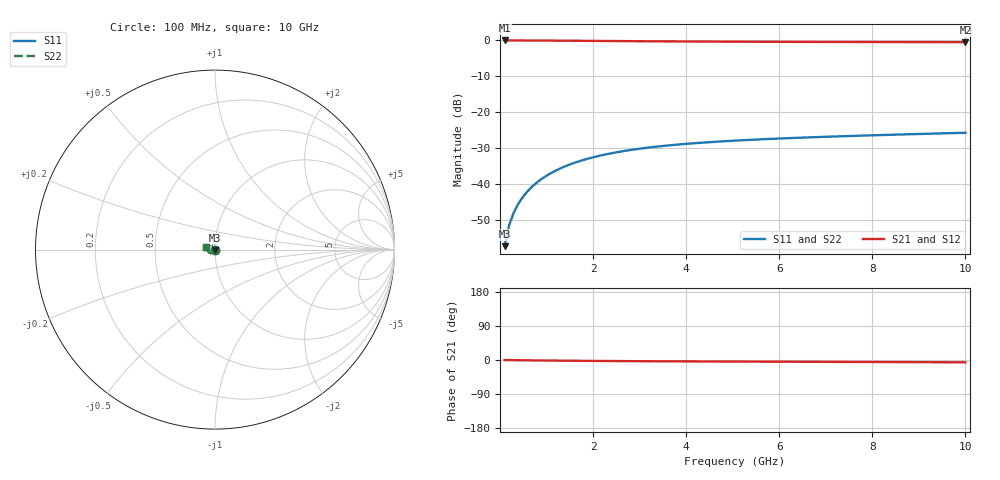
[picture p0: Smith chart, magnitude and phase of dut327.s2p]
! Touchstone file exported from HFSS 2024.1.0
!  File:  C:/UserFiles/LocalFiles/RDL_TSV_Batchsim/temp_TSV1_327_1779617527.aedt
!  Generated:  06:17:18 PM May 24, 2026
!  Design:  TSV1
!  Project:  temp_TSV1_327_1779617527
!  Setup:  Setup1
!  Solution:  Sweep
! Variables:
!  dtsv = 9.92um
!  hbump = 3um
!  htsv = 93.84um
!  lrdl = 252.1521522um
!  p = 40
!  p1 = 57.34um
!  t = 500um
!  trdl = 3um
!  wrdl = 24.89489489um
# GHz S MA R 50.000000
! Terminal data exported
! Port[1] = TSV22_T1
! Port[2] = TSV22_T2
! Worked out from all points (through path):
!   100 points, 100 MHz to 10 GHz, reference 50 ohm
!   highest |S21| = 0.00 dB at 100 MHz (marker M1); lowest = -0.5 dB at 10 GHz (marker M2)
!   lowest |S11| = -57.4 dB at 100 MHz (marker M3), VSWR 1.00, Z = 50 - j0.134 ohm
!   |S11| at or under -10 dB: start of sweep to end of sweep
!   |S22| runs from -57.4 to -25.8 dB; largest |S21 - S12| = 7e-15
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0.1  0.001343 -85.1  0.9998 -0.1  0.9998 -0.1  0.001343 -85.1
! Gamma 0 0 0 0
! Port Impedance 50 0 50 0
0.2  0.002671 -90.5  0.9996 -0.3  0.9996 -0.3  0.002671 -90.5
0.3  0.003999 -93.6  0.9994 -0.4  0.9994 -0.4  0.003999 -93.6
0.4  0.005322 -96.1  0.999 -0.6  0.999 -0.6  0.005322 -96.1
0.5  0.006635 -98.5  0.9986 -0.7  0.9986 -0.7  0.006635 -98.5
0.6  0.007933 -100.7  0.9981 -0.9  0.9981 -0.9  0.007933 -100.7
0.7  0.009214 -102.9  0.9975 -1.0  0.9975 -1.0  0.009214 -102.9
0.8  0.01047 -105.0  0.9968 -1.1  0.9968 -1.1  0.01047 -105.0
0.9  0.01171 -107.0  0.9961 -1.3  0.9961 -1.3  0.01171 -107.0
1.1  0.0141 -111.0  0.9945 -1.5  0.9945 -1.5  0.0141 -111.0
1.4  0.01747 -116.7  0.9917 -1.8  0.9917 -1.8  0.01747 -116.7
1.6  0.01957 -120.3  0.9897 -2.1  0.9897 -2.1  0.01957 -120.3
1.8  0.02153 -123.8  0.9877 -2.3  0.9877 -2.3  0.02153 -123.8
2.1  0.02424 -128.7  0.9845 -2.5  0.9845 -2.5  0.02424 -128.7
2.5  0.02742 -134.7  0.9804 -2.8  0.9804 -2.8  0.02742 -134.7
2.9  0.03017 -140.3  0.9765 -3.1  0.9765 -3.1  0.03017 -140.3
3.4  0.03309 -146.6  0.972 -3.4  0.972 -3.4  0.03309 -146.6
4.2  0.03683 -155.4  0.966 -3.8  0.966 -3.8  0.03683 -155.4
5.1  0.04009 -163.8  0.9607 -4.1  0.9607 -4.1  0.04009 -163.8
6.7  0.04449 -175.9  0.9542 -4.8  0.9542 -4.8  0.04449 -175.9
8.4  0.04823 173.7  0.9497 -5.4  0.9497 -5.4  0.04823 173.7
10  0.05141 165.5  0.9469 -6.0  0.9469 -6.0  0.05141 165.5
